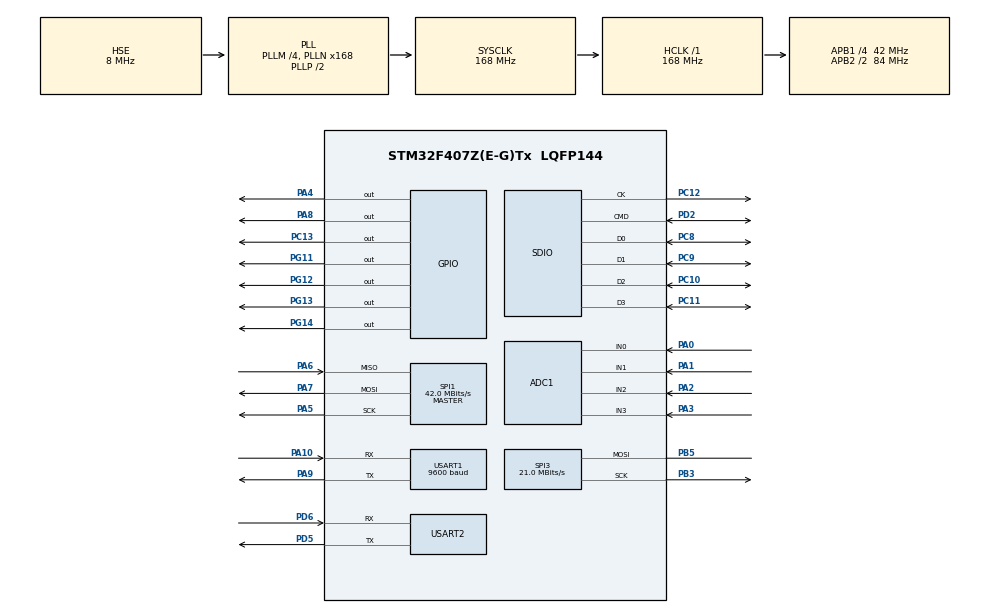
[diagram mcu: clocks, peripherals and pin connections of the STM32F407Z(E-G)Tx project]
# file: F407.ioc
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ADC1.Channel-0\#ChannelRegularConversion=ADC_CHANNEL_0
ADC1.Channel-1\#ChannelRegularConversion=ADC_CHANNEL_1
ADC1.Channel-2\#ChannelRegularConversion=ADC_CHANNEL_2
ADC1.Channel-3\#ChannelRegularConversion=ADC_CHANNEL_3
ADC1.DMAContinuousRequests=ENABLE
ADC1.NbrOfConversion=4
ADC1.NbrOfConversionFlag=1
ADC1.Rank-0\#ChannelRegularConversion=1
ADC1.Rank-1\#ChannelRegularConversion=2
ADC1.Rank-2\#ChannelRegularConversion=3
ADC1.Rank-3\#ChannelRegularConversion=4
ADC1.SamplingTime-0\#ChannelRegularConversion=ADC_SAMPLETIME_3CYCLES
ADC1.SamplingTime-1\#ChannelRegularConversion=ADC_SAMPLETIME_3CYCLES
ADC1.SamplingTime-2\#ChannelRegularConversion=ADC_SAMPLETIME_3CYCLES
ADC1.SamplingTime-3\#ChannelRegularConversion=ADC_SAMPLETIME_3CYCLES
ADC1.ScanConvMode=ENABLE
ADC1.master=1
Dma.ADC1.0.Direction=DMA_PERIPH_TO_MEMORY
Dma.ADC1.0.FIFOMode=DMA_FIFOMODE_DISABLE
Dma.ADC1.0.Instance=DMA2_Stream0
Dma.ADC1.0.MemDataAlignment=DMA_MDATAALIGN_HALFWORD
Dma.ADC1.0.MemInc=DMA_MINC_ENABLE
Dma.ADC1.0.Mode=DMA_NORMAL
Dma.ADC1.0.PeriphDataAlignment=DMA_PDATAALIGN_HALFWORD
Dma.ADC1.0.PeriphInc=DMA_PINC_DISABLE
Dma.ADC1.0.Priority=DMA_PRIORITY_LOW
Dma.Request0=ADC1
Dma.Request1=SPI1_TX
Dma.Request2=USART2_TX
Dma.Request3=USART2_RX
Dma.Request4=SDIO_RX
Dma.Request5=SDIO_TX
Dma.Request6=USART1_RX
Dma.Request7=USART1_TX
Dma.Request8=SPI3_TX
Dma.SDIO_RX.4.Direction=DMA_PERIPH_TO_MEMORY
Dma.SDIO_RX.4.FIFOMode=DMA_FIFOMODE_ENABLE
Dma.SDIO_RX.4.FIFOThreshold=DMA_FIFO_THRESHOLD_FULL
Dma.SDIO_RX.4.Instance=DMA2_Stream3
Dma.SDIO_RX.4.MemBurst=DMA_MBURST_INC4
Dma.SDIO_RX.4.MemDataAlignment=DMA_MDATAALIGN_WORD
Dma.SDIO_RX.4.MemInc=DMA_MINC_ENABLE
Dma.SDIO_RX.4.Mode=DMA_PFCTRL
Dma.SDIO_RX.4.PeriphBurst=DMA_PBURST_INC4
Dma.SDIO_RX.4.PeriphDataAlignment=DMA_PDATAALIGN_WORD
Dma.SDIO_RX.4.PeriphInc=DMA_PINC_DISABLE
Dma.SDIO_RX.4.Priority=DMA_PRIORITY_LOW
Dma.SDIO_TX.5.Direction=DMA_MEMORY_TO_PERIPH
Dma.SDIO_TX.5.FIFOMode=DMA_FIFOMODE_ENABLE
Dma.SDIO_TX.5.FIFOThreshold=DMA_FIFO_THRESHOLD_FULL
Dma.SDIO_TX.5.Instance=DMA2_Stream6
Dma.SDIO_TX.5.MemBurst=DMA_MBURST_INC4
Dma.SDIO_TX.5.MemDataAlignment=DMA_MDATAALIGN_WORD
Dma.SDIO_TX.5.MemInc=DMA_MINC_ENABLE
Dma.SDIO_TX.5.Mode=DMA_PFCTRL
Dma.SDIO_TX.5.PeriphBurst=DMA_PBURST_INC4
Dma.SDIO_TX.5.PeriphDataAlignment=DMA_PDATAALIGN_WORD
Dma.SDIO_TX.5.PeriphInc=DMA_PINC_DISABLE
Dma.SDIO_TX.5.Priority=DMA_PRIORITY_LOW
Dma.SPI1_TX.1.Direction=DMA_MEMORY_TO_PERIPH
Dma.SPI1_TX.1.FIFOMode=DMA_FIFOMODE_DISABLE
Dma.SPI1_TX.1.Instance=DMA2_Stream5
Dma.SPI1_TX.1.MemDataAlignment=DMA_MDATAALIGN_BYTE
Dma.SPI1_TX.1.MemInc=DMA_MINC_ENABLE
Dma.SPI1_TX.1.Mode=DMA_NORMAL
Dma.SPI1_TX.1.PeriphDataAlignment=DMA_PDATAALIGN_BYTE
Dma.SPI1_TX.1.PeriphInc=DMA_PINC_DISABLE
Dma.SPI1_TX.1.Priority=DMA_PRIORITY_LOW
Dma.SPI3_TX.8.Direction=DMA_MEMORY_TO_PERIPH
Dma.SPI3_TX.8.FIFOMode=DMA_FIFOMODE_DISABLE
Dma.SPI3_TX.8.Instance=DMA1_Stream7
Dma.SPI3_TX.8.MemDataAlignment=DMA_MDATAALIGN_BYTE
Dma.SPI3_TX.8.MemInc=DMA_MINC_ENABLE
Dma.SPI3_TX.8.Mode=DMA_NORMAL
Dma.SPI3_TX.8.PeriphDataAlignment=DMA_PDATAALIGN_BYTE
Dma.SPI3_TX.8.PeriphInc=DMA_PINC_DISABLE
Dma.SPI3_TX.8.Priority=DMA_PRIORITY_LOW
Dma.USART1_RX.6.Direction=DMA_PERIPH_TO_MEMORY
Dma.USART1_RX.6.FIFOMode=DMA_FIFOMODE_DISABLE
Dma.USART1_RX.6.Instance=DMA2_Stream2
Dma.USART1_RX.6.MemDataAlignment=DMA_MDATAALIGN_BYTE
Dma.USART1_RX.6.MemInc=DMA_MINC_ENABLE
Dma.USART1_RX.6.Mode=DMA_NORMAL
Dma.USART1_RX.6.PeriphDataAlignment=DMA_PDATAALIGN_BYTE
Dma.USART1_RX.6.PeriphInc=DMA_PINC_DISABLE
Dma.USART1_RX.6.Priority=DMA_PRIORITY_LOW
Dma.USART1_TX.7.Direction=DMA_MEMORY_TO_PERIPH
Dma.USART1_TX.7.FIFOMode=DMA_FIFOMODE_DISABLE
Dma.USART1_TX.7.Instance=DMA2_Stream7
Dma.USART1_TX.7.MemDataAlignment=DMA_MDATAALIGN_BYTE
Dma.USART1_TX.7.MemInc=DMA_MINC_ENABLE
Dma.USART1_TX.7.Mode=DMA_NORMAL
Dma.USART1_TX.7.PeriphDataAlignment=DMA_PDATAALIGN_BYTE
Dma.USART1_TX.7.PeriphInc=DMA_PINC_DISABLE
Dma.USART1_TX.7.Priority=DMA_PRIORITY_LOW
Dma.USART2_RX.3.Direction=DMA_PERIPH_TO_MEMORY
Dma.USART2_RX.3.FIFOMode=DMA_FIFOMODE_DISABLE
Dma.USART2_RX.3.Instance=DMA1_Stream5
Dma.USART2_RX.3.MemDataAlignment=DMA_MDATAALIGN_BYTE
Dma.USART2_RX.3.MemInc=DMA_MINC_ENABLE
Dma.USART2_RX.3.Mode=DMA_NORMAL
Dma.USART2_RX.3.PeriphDataAlignment=DMA_PDATAALIGN_BYTE
Dma.USART2_RX.3.PeriphInc=DMA_PINC_DISABLE
Dma.USART2_RX.3.Priority=DMA_PRIORITY_LOW
Dma.USART2_TX.2.Direction=DMA_MEMORY_TO_PERIPH
Dma.USART2_TX.2.FIFOMode=DMA_FIFOMODE_DISABLE
Dma.USART2_TX.2.Instance=DMA1_Stream6
Dma.USART2_TX.2.MemDataAlignment=DMA_MDATAALIGN_BYTE
Dma.USART2_TX.2.MemInc=DMA_MINC_ENABLE
Dma.USART2_TX.2.Mode=DMA_NORMAL
Dma.USART2_TX.2.PeriphDataAlignment=DMA_PDATAALIGN_BYTE
Dma.USART2_TX.2.PeriphInc=DMA_PINC_DISABLE
Dma.USART2_TX.2.Priority=DMA_PRIORITY_LOW
FATFS._FS_REENTRANT=0
FREERTOS.Tasks01=defaultTask,24,128,StartDefaultTask,Default,NULL,Dynamic,NULL,NULL
FREERTOS.configENABLE_FPU=1
Mcu.Family=STM32F4
Mcu.Name=STM32F407Z(E-G)Tx
Mcu.Package=LQFP144
NVIC.DMA1_Stream5_IRQn=true\:5\:0\:false\:false\:true\:true\:false\:true\:true
NVIC.DMA1_Stream6_IRQn=true\:5\:0\:false\:false\:true\:true\:false\:true\:true
NVIC.DMA1_Stream7_IRQn=true\:5\:0\:false\:false\:true\:true\:false\:true\:true
NVIC.DMA2_Stream0_IRQn=true\:5\:0\:false\:false\:true\:true\:false\:true\:true
NVIC.DMA2_Stream2_IRQn=true\:5\:0\:false\:false\:true\:true\:false\:true\:true
NVIC.DMA2_Stream3_IRQn=true\:5\:0\:false\:false\:true\:true\:false\:true\:true
NVIC.DMA2_Stream5_IRQn=true\:5\:0\:false\:false\:true\:false\:false\:true\:true
NVIC.DMA2_Stream6_IRQn=true\:5\:0\:false\:false\:true\:true\:false\:true\:true
NVIC.DMA2_Stream7_IRQn=true\:5\:0\:false\:false\:true\:true\:false\:true\:true
NVIC.PriorityGroup=NVIC_PRIORITYGROUP_4
NVIC.SDIO_IRQn=true\:5\:0\:false\:false\:true\:true\:true\:true\:true
NVIC.SPI3_IRQn=true\:5\:0\:false\:false\:true\:true\:true\:true\:true
NVIC.TIM2_IRQn=true\:15\:0\:false\:false\:true\:false\:false\:true\:true
NVIC.TIM4_IRQn=true\:5\:0\:false\:false\:true\:true\:true\:true\:true
NVIC.TimeBase=TIM2_IRQn
NVIC.TimeBaseIP=TIM2
NVIC.USART1_IRQn=true\:5\:0\:false\:false\:true\:true\:true\:true\:true
NVIC.USART2_IRQn=true\:5\:0\:false\:false\:true\:true\:true\:true\:true
PA0-WKUP.Signal=ADCx_IN0
PA1.Signal=ADCx_IN1
PA10.Mode=Asynchronous
PA10.Signal=USART1_RX
PA13.Mode=Serial_Wire
PA13.Signal=SYS_JTMS-SWDIO
PA14.Mode=Serial_Wire
PA14.Signal=SYS_JTCK-SWCLK
PA2.Signal=ADCx_IN2
PA3.Signal=ADCx_IN3
PA4.Signal=GPIO_Output
PA5.Mode=Full_Duplex_Master
PA5.Signal=SPI1_SCK
PA6.Mode=Full_Duplex_Master
PA6.Signal=SPI1_MISO
PA7.Mode=Full_Duplex_Master
PA7.Signal=SPI1_MOSI
PA8.Signal=GPIO_Output
PA9.Mode=Asynchronous
PA9.Signal=USART1_TX
PB3.Mode=Simplex_Bidirectional_Master
PB3.Signal=SPI3_SCK
PB5.Mode=Simplex_Bidirectional_Master
PB5.Signal=SPI3_MOSI
PC10.Mode=SD_4_bits_Wide_bus
PC10.Signal=SDIO_D2
PC11.Mode=SD_4_bits_Wide_bus
PC11.Signal=SDIO_D3
PC12.Mode=SD_4_bits_Wide_bus
PC12.Signal=SDIO_CK
PC13-ANTI_TAMP.Signal=GPIO_Output
PC14-OSC32_IN.Mode=LSE-External-Oscillator
PC14-OSC32_IN.Signal=RCC_OSC32_IN
PC15-OSC32_OUT.Mode=LSE-External-Oscillator
PC15-OSC32_OUT.Signal=RCC_OSC32_OUT
PC8.Mode=SD_4_bits_Wide_bus
PC8.Signal=SDIO_D0
PC9.Mode=SD_4_bits_Wide_bus
PC9.Signal=SDIO_D1
PD2.Mode=SD_4_bits_Wide_bus
PD2.Signal=SDIO_CMD
PD5.Mode=Asynchronous
PD5.Signal=USART2_TX
PD6.Mode=Asynchronous
PD6.Signal=USART2_RX
PG11.PinState=GPIO_PIN_SET
PG11.Signal=GPIO_Output
PG12.PinState=GPIO_PIN_RESET
PG12.Signal=GPIO_Output
PG13.Signal=GPIO_Output
PG14.PinState=GPIO_PIN_SET
PG14.Signal=GPIO_Output
PH0-OSC_IN.Mode=HSE-External-Oscillator
PH0-OSC_IN.Signal=RCC_OSC_IN
PH1-OSC_OUT.Mode=HSE-External-Oscillator
PH1-OSC_OUT.Signal=RCC_OSC_OUT
ProjectManager.HeapSize=0x200
ProjectManager.StackSize=0x400
ProjectManager.TargetToolchain=CMake
RCC.48MHZClocksFreq_Value=48000000
RCC.AHBFreq_Value=168000000
RCC.APB1CLKDivider=RCC_HCLK_DIV4
RCC.APB1Freq_Value=42000000
RCC.APB1TimFreq_Value=84000000
RCC.APB2CLKDivider=RCC_HCLK_DIV2
RCC.APB2Freq_Value=84000000
RCC.APB2TimFreq_Value=168000000
RCC.CortexFreq_Value=168000000
RCC.EnbaleCSS=true
RCC.HCLKFreq_Value=168000000
RCC.HSE_VALUE=8000000
RCC.HSI_VALUE=16000000
RCC.PLLM=4
RCC.PLLN=168
RCC.PLLQ=7
RCC.PLLSourceVirtual=RCC_PLLSOURCE_HSE
RCC.RCC_RTC_Clock_Source=RCC_RTCCLKSOURCE_LSE
RCC.RCC_RTC_Clock_SourceVirtual=RCC_RTCCLKSOURCE_LSE
RCC.SYSCLKFreq_VALUE=168000000
RCC.SYSCLKSource=RCC_SYSCLKSOURCE_PLLCLK
RCC.VCOOutputFreq_Value=336000000
SH.ADCx_IN0.0=ADC1_IN0,IN0
SH.ADCx_IN1.0=ADC1_IN1,IN1
SH.ADCx_IN2.0=ADC1_IN2,IN2
SH.ADCx_IN3.0=ADC1_IN3,IN3
SPI1.CalculateBaudRate=42.0 MBits/s
SPI1.Direction=SPI_DIRECTION_2LINES
SPI1.Mode=SPI_MODE_MASTER
SPI1.VirtualType=VM_MASTER
SPI3.CalculateBaudRate=21.0 MBits/s
SPI3.Direction=SPI_DIRECTION_1LINE
SPI3.Mode=SPI_MODE_MASTER
SPI3.VirtualType=VM_MASTER
TIM4.Period=100-1
TIM4.Prescaler=1680-1
USART1.BaudRate=9600
USART1.VirtualMode=VM_ASYNC
USART2.VirtualMode=VM_ASYNC
VP_CRC_VS_CRC.Mode=CRC_Activate
VP_FATFS_VS_SDIO.Mode=SDIO
VP_FREERTOS_VS_CMSIS_V2.Mode=CMSIS_V2
VP_RTC_VS_RTC_Activate.Mode=RTC_Enabled
VP_RTC_VS_RTC_Calendar.Mode=RTC_Calendar
VP_SYS_VS_tim2.Mode=TIM2
VP_TIM4_VS_ClockSourceINT.Mode=Internal
board=custom

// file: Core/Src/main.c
/* USER CODE BEGIN Header */
/**
  ******************************************************************************
  * @file           : main.c
  * @brief          : Main program body
  ******************************************************************************
  * @attention
  *
  * Copyright (c) 2026 STMicroelectronics.
  * All rights reserved.
  *
  * This software is licensed under terms that can be found in the LICENSE file
  * in the root directory of this software component.
  * If no LICENSE file comes with this software, it is provided AS-IS.
  *
  ******************************************************************************
  */
/* USER CODE END Header */
#include "main.h"
#include "cmsis_os.h"
#include "adc.h"
#include "crc.h"
#include "dma.h"
#include "fatfs.h"
#include "rtc.h"
#include "sdio.h"
#include "spi.h"
#include "tim.h"
#include "usart.h"
#include "gpio.h"

/* USER CODE BEGIN Includes */
#include "LED.h"
#include "ADC_DATA.h"
#include "RTC_Time.h"
#include "CLI.h"
#include "Uart_Tx.h"
#include "W25Q64.h"
#include "RS485.h"
/* USER CODE END Includes */

/* USER CODE BEGIN PD */
extern TaskHandle_t ADC_AcquisitionHandle;
/* USER CODE END PD */

/* USER CODE BEGIN PV */

extern volatile uint8_t ADC_FLAG;

/* USER CODE END PV */

void SystemClock_Config(void);
void MX_FREERTOS_Init(void);
/* USER CODE BEGIN PFP */
static void System_Init(void);
/* USER CODE END PFP */

int main(void)
{

  /* MCU Configuration--------------------------------------------------------*/

  /* Reset of all peripherals, Initializes the Flash interface and the Systick. */
  HAL_Init();

  /* Configure the system clock */
  SystemClock_Config();

  /* Initialize all configured peripherals */
  MX_GPIO_Init();
  MX_DMA_Init();
  MX_ADC1_Init();
  MX_CRC_Init();
  MX_SPI1_Init();
  MX_TIM4_Init();
  MX_RTC_Init();
  MX_USART2_UART_Init();
  MX_SDIO_SD_Init();
  MX_FATFS_Init();
  MX_USART1_UART_Init();
  MX_SPI3_Init();
  /* USER CODE BEGIN 2 */
  System_Init();
  if (RTC_TimeInit() != HAL_OK) {
    Error_Handler();
  }

  /* USER CODE END 2 */

  /* Init scheduler */
  osKernelInitialize();  /* Call init function for freertos objects (in cmsis_os2.c) */
  MX_FREERTOS_Init();

  /* Start scheduler */
  osKernelStart();

  /* We should never get here as control is now taken by the scheduler */

  /* Infinite loop */
  while (1)
  {

  }
}

void SystemClock_Config(void)
{
  RCC_OscInitTypeDef RCC_OscInitStruct = {0};
  RCC_ClkInitTypeDef RCC_ClkInitStruct = {0};

  /** Configure the main internal regulator output voltage
  */
  __HAL_RCC_PWR_CLK_ENABLE();
  __HAL_PWR_VOLTAGESCALING_CONFIG(PWR_REGULATOR_VOLTAGE_SCALE1);

  /** Initializes the RCC Oscillators according to the specified parameters
  * in the RCC_OscInitTypeDef structure.
  */
  RCC_OscInitStruct.OscillatorType = RCC_OSCILLATORTYPE_HSE|RCC_OSCILLATORTYPE_LSE;
  RCC_OscInitStruct.HSEState = RCC_HSE_ON;
  RCC_OscInitStruct.LSEState = RCC_LSE_ON;
  RCC_OscInitStruct.PLL.PLLState = RCC_PLL_ON;
  RCC_OscInitStruct.PLL.PLLSource = RCC_PLLSOURCE_HSE;
  RCC_OscInitStruct.PLL.PLLM = 4;
  RCC_OscInitStruct.PLL.PLLN = 168;
  RCC_OscInitStruct.PLL.PLLP = RCC_PLLP_DIV2;
  RCC_OscInitStruct.PLL.PLLQ = 7;
  if (HAL_RCC_OscConfig(&RCC_OscInitStruct) != HAL_OK)
  {
    Error_Handler();
  }

  /** Initializes the CPU, AHB and APB buses clocks
  */
  RCC_ClkInitStruct.ClockType = RCC_CLOCKTYPE_HCLK|RCC_CLOCKTYPE_SYSCLK
                              |RCC_CLOCKTYPE_PCLK1|RCC_CLOCKTYPE_PCLK2;
  RCC_ClkInitStruct.SYSCLKSource = RCC_SYSCLKSOURCE_PLLCLK;
  RCC_ClkInitStruct.AHBCLKDivider = RCC_SYSCLK_DIV1;
  RCC_ClkInitStruct.APB1CLKDivider = RCC_HCLK_DIV4;
  RCC_ClkInitStruct.APB2CLKDivider = RCC_HCLK_DIV2;

  if (HAL_RCC_ClockConfig(&RCC_ClkInitStruct, FLASH_LATENCY_5) != HAL_OK)
  {
    Error_Handler();
  }

  /** Enables the Clock Security System
  */
  HAL_RCC_EnableCSS();
}

/* USER CODE BEGIN 4 */

static void System_Init(void)
{
    //HAL_TIM_Base_Init(&htim4);
    //HAL_TIM_Base_Start_IT(&htim4);
    UartTx_Init();
    W25Q64_Init();
    (void)W25Q64_ConfigLoad();
    if(CLI_Init() != HAL_OK){
      Error_Handler();

    }
}

void HAL_ADC_ConvCpltCallback(ADC_HandleTypeDef *hadc)
{
    if(hadc->Instance == ADC1){
        BaseType_t xHigherPriorityTaskWoken = pdFALSE;

        vTaskNotifyGiveFromISR(ADC_AcquisitionHandle,&xHigherPriorityTaskWoken);

        portYIELD_FROM_ISR(xHigherPriorityTaskWoken);

    }
}

/* USER CODE END 4 */

void HAL_TIM_PeriodElapsedCallback(TIM_HandleTypeDef *htim)
{
  if (htim->Instance == TIM2)
  {
    HAL_IncTick();
  }
}

void Error_Handler(void)
{
  __disable_irq();
  while (1)
  {
  }
}

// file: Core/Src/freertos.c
/* USER CODE BEGIN Header */
/**
  ******************************************************************************
  * File Name          : freertos.c
  * Description        : Code for freertos applications
  ******************************************************************************
  * @attention
  *
  * Copyright (c) 2026 STMicroelectronics.
  * All rights reserved.
  *
  * This software is licensed under terms that can be found in the LICENSE file
  * in the root directory of this software component.
  * If no LICENSE file comes with this software, it is provided AS-IS.
  *
  ******************************************************************************
  */
/* USER CODE END Header */

#include "FreeRTOS.h"
#include "task.h"
#include "main.h"
#include "cmsis_os.h"

/* USER CODE BEGIN Includes */
#include "queue.h"
#include "LED.h"
#include "ADC_DATA.h"
#include "RTC_Time.h"
#include "CLI.h"
#include "Uart_Tx.h"
#include "SD.h"
#include "W25Q64.h"
#include "RS485.h"
#include "LCD.h"
/* USER CODE END Includes */

/* USER CODE BEGIN PD */
extern TaskHandle_t LED_Handle;
extern TaskHandle_t ADC_ProcessingHandle;
extern TaskHandle_t ADC_AcquisitionHandle;
extern QueueHandle_t ADC_QueueHandle;
extern TaskHandle_t Uart_TaskHandle;
extern TaskHandle_t W25Q64_TaskHandle;
extern TaskHandle_t RS485_TaskHandle;
/* USER CODE END PD */

/* USER CODE BEGIN Variables */
static StaticTask_t LCD_TaskBuffer;
static StackType_t LCD_Stack[1024];
/* USER CODE END Variables */
/* Definitions for defaultTask */
osThreadId_t defaultTaskHandle;
const osThreadAttr_t defaultTask_attributes = {
  .name = "defaultTask",
  .stack_size = 128 * 4,
  .priority = (osPriority_t) osPriorityNormal,
};

void StartDefaultTask(void *argument);

void MX_FREERTOS_Init(void); /* (MISRA C 2004 rule 8.1) */

void MX_FREERTOS_Init(void) {

  /* USER CODE BEGIN RTOS_QUEUES */
  ADC_QueueHandle = xQueueCreate(10, 4 * sizeof(uint16_t));
  if (ADC_QueueHandle == NULL)
  {
    Error_Handler();
  }

  /* USER CODE END RTOS_QUEUES */

  /* Create the thread(s) */
  /* creation of defaultTask */
  defaultTaskHandle = osThreadNew(StartDefaultTask, NULL, &defaultTask_attributes);

  /* USER CODE BEGIN RTOS_THREADS */
  xTaskCreate(LED, "LED_Test", 128, NULL, osPriorityLow7, &LED_Handle);
  xTaskCreate(ADC_ProcessingTask, "ADC_ProcessingTask", 512, NULL, osPriorityNormal, &ADC_ProcessingHandle);
  xTaskCreate(ADC_AcquisitionTask, "ADC_AcquisitionTask", 256,NULL, osPriorityNormal, &ADC_AcquisitionHandle);
  xTaskCreate(CLI_Task, "CLI", 256, NULL, osPriorityNormal, NULL);
  xTaskCreate(Uart_Task, "UART", 256, NULL, osPriorityNormal,&Uart_TaskHandle);
  xTaskCreate(SD_Task, "SD", 256, NULL, osPriorityNormal,NULL);
  xTaskCreate(W25Q64_Task, "W25Q64", 256, NULL, osPriorityNormal,&W25Q64_TaskHandle);
  if(xTaskCreate(RS485_Task, "RS485", 256, NULL, osPriorityNormal,&RS485_TaskHandle) != pdPASS){
    vTaskDelete(LED_Handle);
  }
  xTaskCreateStatic(LCD_Task, "LCD", 1024, NULL, osPriorityBelowNormal, LCD_Stack, &LCD_TaskBuffer);

  /* add threads, ... */
  /* USER CODE END RTOS_THREADS */

}

void StartDefaultTask(void *argument)
{
  for(;;)
  {
    osDelay(1);
  }
}
